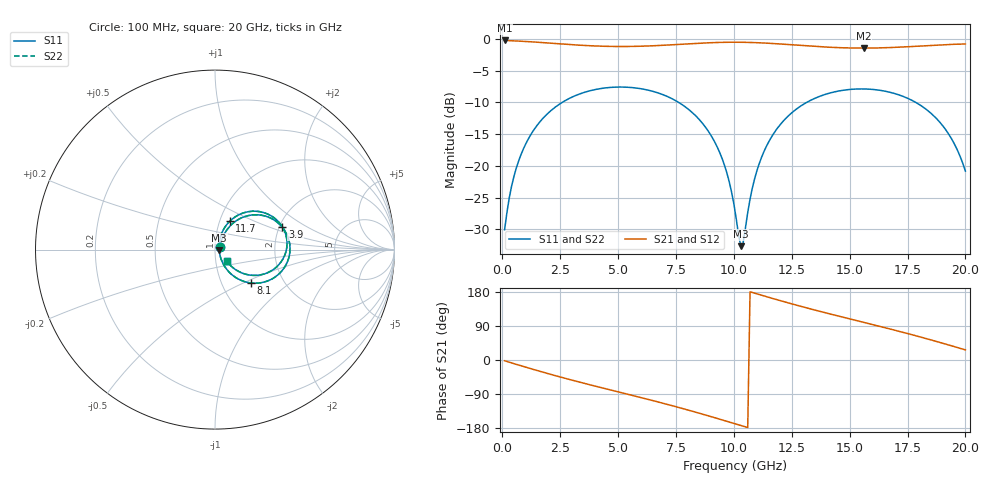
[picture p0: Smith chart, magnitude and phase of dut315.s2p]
! Touchstone file exported from HFSS 2026.1.0
!  File:  C:/ffzhzh/LocalFiles/Ansys_Project_Files/temp_train_TSV_RDL_315_1783030338_46388.aedt
!  Generated:  06:28:59 AM Jul  3, 2026
!  Design:  TSV_RDL
!  Project:  temp_train_TSV_RDL_315_1783030338_46388
! Variables:
!  h_bsmrdl = 2.62um
!  h_ox = 20um
!  h_rdl = 5um
!  h_sub = 60.42um
!  h_tmrdl = 5.5um
!  h_tsv = 60.42um
!  h_via = 3um
!  l_bsmrdl = 951.64um
!  l_sub = 5877.84um
!  l_tmrdl = 624.86um
!  m_sub = 200um
!  pitch = 37.45um
!  r_tsv = 6.79um
!  s_tmrdl = 10um
!  w_bsmrdl = 24.93um
!  w_sub = 500um
!  w_tmrdl = 16.23um
!  x_tsv_center1 = 632.975um
!  x_tsv_center2 = 1609.545um
!  x_tsv_center3 = 2250.635um
!  x_tsv_center4 = 3227.205um
!  x_tsv_center5 = 3868.295um
!  x_tsv_center6 = 4844.865um
# GHz S MA R 50.000000
! Terminal data exported
! Port[1] = TM_RDL1_1_T1
! Port[2] = TM_RDL5_1_T1
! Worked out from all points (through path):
!   200 points, 100 MHz to 20 GHz, reference 50 ohm
!   highest |S21| = -0.24 dB at 100 MHz (marker M1); lowest = -1.4 dB at 15.6 GHz (marker M2)
!   group delay of S21, straight-line fit = 46 ps
!   lowest |S11| = -32.6 dB at 10.3 GHz (marker M3), VSWR 1.05, Z = 52.4 - j0.251 ohm
!   |S11| at or under -10 dB: start of sweep to 2.583 GHz; 7.62 GHz to 13.14 GHz (5.522 GHz wide, 53.2 % of centre); 17.86 GHz to end of sweep
!   |S22| runs from -32.7 to -7.6 dB; largest |S21 - S12| = 1.9e-14
!   S11 on the Smith chart (normalised r, x): 100 MHz: 1.06, +0.03; 3.9 GHz: 2.08, +0.61; 8.1 GHz: 1.37, -0.55; 11.7 GHz: 1.12, +0.36; 20 GHz: 1.13, -0.15
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0.1  0.03147 30.0  0.9732 -2.0  0.9732 -2.0  0.03147 30.0
! Gamma 0 0 0 0
! Port Impedance 50 0 50 0
0.5  0.08235 58.0  0.9657 -9.6  0.9657 -9.6  0.08235 58.0
1.2  0.1725 56.2  0.9508 -22.3  0.9508 -22.3  0.1726 56.1
2.2  0.2824 43.1  0.9235 -39.8  0.9235 -39.8  0.2824 43.1
3.5  0.3775 24.1  0.8898 -61.0  0.8898 -61.0  0.3775 24.1
3.9  0.3954 18.3  0.8824 -67.2  0.8824 -67.2  0.3954 18.3
6.8  0.372 -23.5  0.8888 -111.9  0.8888 -111.9  0.3721 -23.5
8.1  0.2735 -42.8  0.9169 -133.3  0.9169 -133.3  0.2736 -42.9
9.4  0.1261 -59.3  0.9395 -156.3  0.9395 -156.3  0.1262 -59.4
9.8  0.07515 -59.0  0.9423 -163.6  0.9423 -163.6  0.07514 -59.2
10.1  0.03876 -45.8  0.9426 -169.1  0.9426 -169.1  0.03866 -46.1
10.3  0.02335 -5.9  0.942 -172.8  0.942 -172.8  0.02312 -6.2
10.4  0.02482 24.8  0.9414 -174.6  0.9414 -174.6  0.02457 24.9
10.7  0.05479 62.5  0.9387 179.9  0.9387 179.9  0.05463 62.7
11  0.09222 67.6  0.9346 174.5  0.9346 174.5  0.0921 67.7
11.7  0.1776 62.5  0.9204 162.0  0.9204 162.0  0.1775 62.6
13.4  0.3345 38.6  0.8759 133.4  0.8759 133.4  0.3344 38.7
15.6  0.404 7.5  0.8472 99.4  0.8472 99.4  0.404 7.5
16.7  0.3819 -8.0  0.8549 82.6  0.8549 82.6  0.3819 -7.9
18.7  0.2414 -36.1  0.8937 49.8  0.8937 49.8  0.2414 -36.0
19.4  0.1638 -44.0  0.9063 37.5  0.9063 37.5  0.1639 -43.9
20  0.09105 -44.7  0.9128 26.6  0.9128 26.6  0.09127 -44.3
